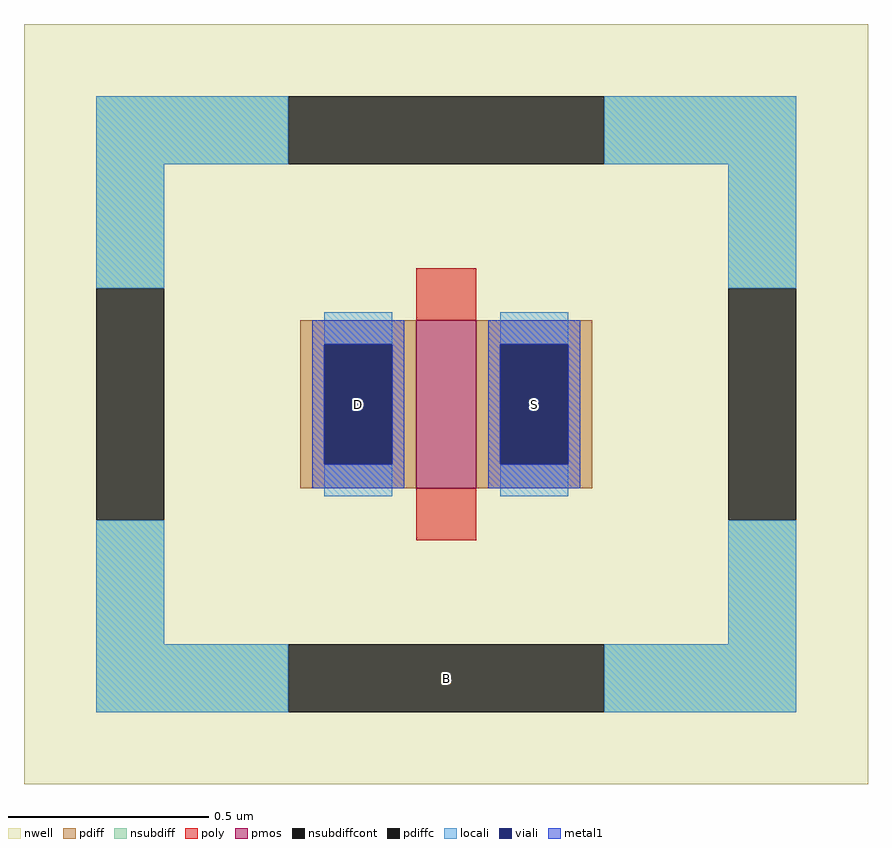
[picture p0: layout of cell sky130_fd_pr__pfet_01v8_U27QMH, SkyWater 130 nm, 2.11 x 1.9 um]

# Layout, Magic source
magic
tech sky130A
magscale 1 2
<< nwell >>
rect -211 -190 211 190
<< pmos >>
rect -15 -42 15 42
<< pdiff >>
rect -73 30 -15 42
rect -73 -30 -61 30
rect -27 -30 -15 30
rect -73 -42 -15 -30
rect 15 30 73 42
rect 15 -30 27 30
rect 61 -30 73 30
rect 15 -42 73 -30
<< pdiffc >>
rect -61 -30 -27 30
rect 27 -30 61 30
<< nsubdiff >>
rect -175 120 -79 154
rect 79 120 175 154
rect -175 58 -141 120
rect 141 58 175 120
rect -175 -120 -141 -58
rect 141 -120 175 -58
rect -175 -154 -79 -120
rect 79 -154 175 -120
<< nsubdiffcont >>
rect -79 120 79 154
rect -175 -58 -141 58
rect 141 -58 175 58
rect -79 -154 79 -120
<< poly >>
rect -15 42 15 68
rect -15 -68 15 -42
<< locali >>
rect -175 120 -79 154
rect 79 120 175 154
rect -175 58 -141 120
rect 141 58 175 120
rect -61 30 -27 46
rect -61 -46 -27 -30
rect 27 30 61 46
rect 27 -46 61 -30
rect -175 -120 -141 -58
rect 141 -120 175 -58
rect -175 -154 -79 -120
rect 79 -154 175 -120
<< viali >>
rect -61 -30 -27 30
rect 27 -30 61 30
<< metal1 >>
rect -67 30 -21 42
rect -67 -30 -61 30
rect -27 -30 -21 30
rect -67 -42 -21 -30
rect 21 30 67 42
rect 21 -30 27 30
rect 61 -30 67 30
rect 21 -42 67 -30
<< labels >>
rlabel nsubdiffcont 0 -137 0 -137 0 B
port 1 nsew
rlabel pdiffc -44 0 -44 0 0 D
port 2 nsew
rlabel pdiffc 44 0 44 0 0 S
port 3 nsew
<< properties >>
string FIXED_BBOX -158 -137 158 137
string gencell sky130_fd_pr__pfet_01v8
string library sky130
string parameters w 0.42 l 0.15 m 1 nf 1 diffcov 100 polycov 100 guard 1 glc 1 grc 1 gtc 1 gbc 1 tbcov 100 rlcov 100 topc 0 botc 0 poverlap 0 doverlap 1 lmin 0.15 wmin 0.42 class mosfet compatible {sky130_fd_pr__pfet_01v8  sky130_fd_pr__pfet_01v8_lvt sky130_fd_pr__pfet_01v8_hvt  sky130_fd_pr__pfet_g5v0d10v5} full_metal 1 conn_gates 0 viasrc 100 viadrn 100 viagate 100 viagb 0 viagr 0 viagl 0 viagt 0 doports 1
<< end >>
